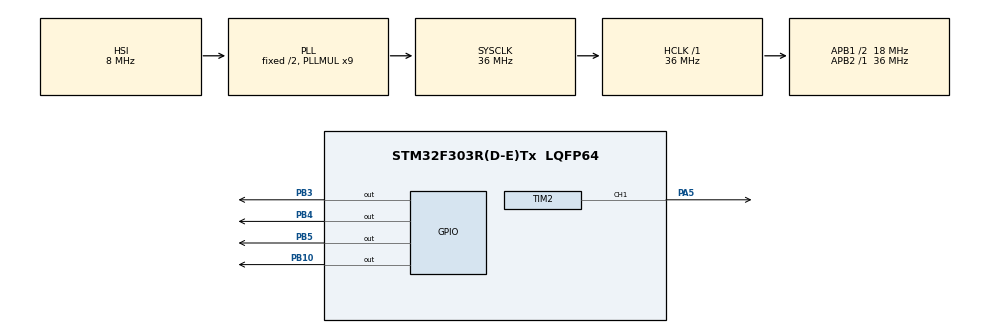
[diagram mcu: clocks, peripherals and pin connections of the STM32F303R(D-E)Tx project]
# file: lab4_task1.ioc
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Mcu.Family=STM32F3
Mcu.Name=STM32F303R(D-E)Tx
Mcu.Package=LQFP64
NVIC.PriorityGroup=NVIC_PRIORITYGROUP_0
NVIC.TIM2_IRQn=true\:0\:0\:false\:false\:true\:true\:true\:true
PA13.GPIO_Label=TMS
PA13.Signal=SYS_JTMS-SWDIO
PA5.Signal=S_TIM2_CH1_ETR
PB10.Signal=GPIO_Output
PB3.Signal=GPIO_Output
PB4.Signal=GPIO_Output
PB5.Signal=GPIO_Output
ProjectManager.HeapSize=0x200
ProjectManager.StackSize=0x400
ProjectManager.TargetToolchain=STM32CubeIDE
RCC.AHBFreq_Value=36000000
RCC.APB1CLKDivider=RCC_HCLK_DIV2
RCC.APB1Freq_Value=18000000
RCC.APB1TimFreq_Value=36000000
RCC.APB2Freq_Value=36000000
RCC.APB2TimFreq_Value=36000000
RCC.CortexFreq_Value=36000000
RCC.HCLKFreq_Value=36000000
RCC.HSE_VALUE=8000000
RCC.HSI_VALUE=8000000
RCC.LSE_VALUE=32768
RCC.PLLM=8
RCC.PLLMUL=RCC_PLL_MUL9
RCC.PLLN=336
RCC.PLLP=RCC_PLLP_DIV4
RCC.PLLQ=7
RCC.RCC_PLLsource_Clock_Source_FROM_HSE=RCC_HSE_PREDIV_DIV2
RCC.SYSCLKFreq_VALUE=36000000
RCC.SYSCLKSourceVirtual=RCC_SYSCLKSOURCE_PLLCLK
RCC.USBFreq_Value=36000000
SH.S_TIM2_CH1_ETR.0=TIM2_CH1,PWM Generation1 CH1
TIM2.Channel-PWM\ Generation1\ CH1=TIM_CHANNEL_1
TIM2.Period=1151
TIM2.Prescaler=999
TIM2.Pulse-PWM\ Generation1\ CH1=115
VP_TIM2_VS_ClockSourceINT.Mode=Internal
board=NUCLEO-F303RE

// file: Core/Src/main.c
/* USER CODE BEGIN Header */
/**
  ******************************************************************************
  * @file           : main.c
  * @brief          : Main program body
  ******************************************************************************
  * @attention
  *
  * Copyright (c) 2025 STMicroelectronics.
  * All rights reserved.
  *
  * This software is licensed under terms that can be found in the LICENSE file
  * in the root directory of this software component.
  * If no LICENSE file comes with this software, it is provided AS-IS.
  *
  ******************************************************************************
  */
/* USER CODE END Header */
#include "main.h"

/* USER CODE BEGIN PM */
void software_pwm_leds(float duty);
/* USER CODE END PM */

TIM_HandleTypeDef htim2;

void SystemClock_Config(void);
static void MX_GPIO_Init(void);
static void MX_TIM2_Init(void);

int main(void)
{

  /* USER CODE BEGIN 1 */
	float  duty = 0.0f;
	float  step = 0.05f; // 步长
  /* USER CODE END 1 */

  /* MCU Configuration--------------------------------------------------------*/

  /* Reset of all peripherals, Initializes the Flash interface and the Systick. */
  HAL_Init();

  /* Configure the system clock */
  SystemClock_Config();

  /* Initialize all configured peripherals */
  MX_GPIO_Init();
  MX_TIM2_Init();
  /* USER CODE BEGIN 2 */
  HAL_TIM_PWM_Start(&htim2, TIM_CHANNEL_1);
  /* USER CODE END 2 */

  /* Infinite loop */
  while (1)
  {

    /* USER CODE BEGIN 3 */
	  	  TIM2->CCR1 = (uint32_t)(duty * TIM2->ARR); // 控制 D2 的亮度
	  	  // 手动控制 LED1-4 的模拟 PWM
	  	  for (int i = 0; i < 10; i++) {
	  		software_pwm_leds(duty); // 自定义函数见下方
	  	  }

	  	  // 改变亮度
	  	duty += step;
	  	 if (duty >= 1.0f || duty <= 0.0f) {
			  step = -step;
			  duty += step;
		  }

  }
  /* USER CODE END 3 */
}

void SystemClock_Config(void)
{
  RCC_OscInitTypeDef RCC_OscInitStruct = {0};
  RCC_ClkInitTypeDef RCC_ClkInitStruct = {0};
  RCC_PeriphCLKInitTypeDef PeriphClkInit = {0};

  /** Initializes the RCC Oscillators according to the specified parameters
  * in the RCC_OscInitTypeDef structure.
  */
  RCC_OscInitStruct.OscillatorType = RCC_OSCILLATORTYPE_HSI;
  RCC_OscInitStruct.HSIState = RCC_HSI_ON;
  RCC_OscInitStruct.HSICalibrationValue = RCC_HSICALIBRATION_DEFAULT;
  RCC_OscInitStruct.PLL.PLLState = RCC_PLL_ON;
  RCC_OscInitStruct.PLL.PLLSource = RCC_PLLSOURCE_HSI;
  RCC_OscInitStruct.PLL.PLLMUL = RCC_PLL_MUL9;
  RCC_OscInitStruct.PLL.PREDIV = RCC_PREDIV_DIV1;
  if (HAL_RCC_OscConfig(&RCC_OscInitStruct) != HAL_OK)
  {
    Error_Handler();
  }

  /** Initializes the CPU, AHB and APB buses clocks
  */
  RCC_ClkInitStruct.ClockType = RCC_CLOCKTYPE_HCLK|RCC_CLOCKTYPE_SYSCLK
                              |RCC_CLOCKTYPE_PCLK1|RCC_CLOCKTYPE_PCLK2;
  RCC_ClkInitStruct.SYSCLKSource = RCC_SYSCLKSOURCE_PLLCLK;
  RCC_ClkInitStruct.AHBCLKDivider = RCC_SYSCLK_DIV1;
  RCC_ClkInitStruct.APB1CLKDivider = RCC_HCLK_DIV2;
  RCC_ClkInitStruct.APB2CLKDivider = RCC_HCLK_DIV1;

  if (HAL_RCC_ClockConfig(&RCC_ClkInitStruct, FLASH_LATENCY_1) != HAL_OK)
  {
    Error_Handler();
  }
  PeriphClkInit.PeriphClockSelection = RCC_PERIPHCLK_TIM2;
  PeriphClkInit.Tim2ClockSelection = RCC_TIM2CLK_HCLK;
  if (HAL_RCCEx_PeriphCLKConfig(&PeriphClkInit) != HAL_OK)
  {
    Error_Handler();
  }
}

static void MX_TIM2_Init(void)
{

  TIM_ClockConfigTypeDef sClockSourceConfig = {0};
  TIM_MasterConfigTypeDef sMasterConfig = {0};
  TIM_OC_InitTypeDef sConfigOC = {0};

  htim2.Instance = TIM2;
  htim2.Init.Prescaler = 999;
  htim2.Init.CounterMode = TIM_COUNTERMODE_UP;
  htim2.Init.Period = 1151;
  htim2.Init.ClockDivision = TIM_CLOCKDIVISION_DIV1;
  htim2.Init.AutoReloadPreload = TIM_AUTORELOAD_PRELOAD_DISABLE;
  if (HAL_TIM_Base_Init(&htim2) != HAL_OK)
  {
    Error_Handler();
  }
  sClockSourceConfig.ClockSource = TIM_CLOCKSOURCE_INTERNAL;
  if (HAL_TIM_ConfigClockSource(&htim2, &sClockSourceConfig) != HAL_OK)
  {
    Error_Handler();
  }
  if (HAL_TIM_PWM_Init(&htim2) != HAL_OK)
  {
    Error_Handler();
  }
  sMasterConfig.MasterOutputTrigger = TIM_TRGO_RESET;
  sMasterConfig.MasterSlaveMode = TIM_MASTERSLAVEMODE_DISABLE;
  if (HAL_TIMEx_MasterConfigSynchronization(&htim2, &sMasterConfig) != HAL_OK)
  {
    Error_Handler();
  }
  sConfigOC.OCMode = TIM_OCMODE_PWM1;
  sConfigOC.Pulse = 115;
  sConfigOC.OCPolarity = TIM_OCPOLARITY_HIGH;
  sConfigOC.OCFastMode = TIM_OCFAST_DISABLE;
  if (HAL_TIM_PWM_ConfigChannel(&htim2, &sConfigOC, TIM_CHANNEL_1) != HAL_OK)
  {
    Error_Handler();
  }
  HAL_TIM_MspPostInit(&htim2);

}

static void MX_GPIO_Init(void)
{
  GPIO_InitTypeDef GPIO_InitStruct = {0};

  /* GPIO Ports Clock Enable */
  __HAL_RCC_GPIOA_CLK_ENABLE();
  __HAL_RCC_GPIOB_CLK_ENABLE();

  /*Configure GPIO pin Output Level */
  HAL_GPIO_WritePin(GPIOB, GPIO_PIN_10|GPIO_PIN_3|GPIO_PIN_4|GPIO_PIN_5, GPIO_PIN_RESET);

  /*Configure GPIO pins : PB10 PB3 PB4 PB5 */
  GPIO_InitStruct.Pin = GPIO_PIN_10|GPIO_PIN_3|GPIO_PIN_4|GPIO_PIN_5;
  GPIO_InitStruct.Mode = GPIO_MODE_OUTPUT_PP;
  GPIO_InitStruct.Pull = GPIO_NOPULL;
  GPIO_InitStruct.Speed = GPIO_SPEED_FREQ_LOW;
  HAL_GPIO_Init(GPIOB, &GPIO_InitStruct);

}

/* USER CODE BEGIN 4 */
void HAL_TIM_PeriodElapsedCallback(TIM_HandleTypeDef *htim) {
}

void software_pwm_leds(float duty) {
	uint32_t period = 16;

	uint32_t on_time = period * duty;
	uint32_t off_time = period - on_time;

    // 点亮LED1-4
    HAL_GPIO_WritePin(LED_Port, D1_Pin, GPIO_PIN_SET);
    HAL_GPIO_WritePin(LED_Port, D2_Pin, GPIO_PIN_SET);
    HAL_GPIO_WritePin(LED_Port, D3_Pin, GPIO_PIN_SET);
    HAL_GPIO_WritePin(LED_Port, D4_Pin, GPIO_PIN_SET);
    HAL_Delay(on_time);

    // 熄灭LED1-4
    HAL_GPIO_WritePin(LED_Port, D1_Pin, GPIO_PIN_RESET);
    HAL_GPIO_WritePin(LED_Port, D2_Pin, GPIO_PIN_RESET);
    HAL_GPIO_WritePin(LED_Port, D3_Pin, GPIO_PIN_RESET);
    HAL_GPIO_WritePin(LED_Port, D4_Pin, GPIO_PIN_RESET);
    HAL_Delay(off_time);
}
/* USER CODE END 4 */

void Error_Handler(void)
{
  __disable_irq();
  while (1)
  {
  }
}
